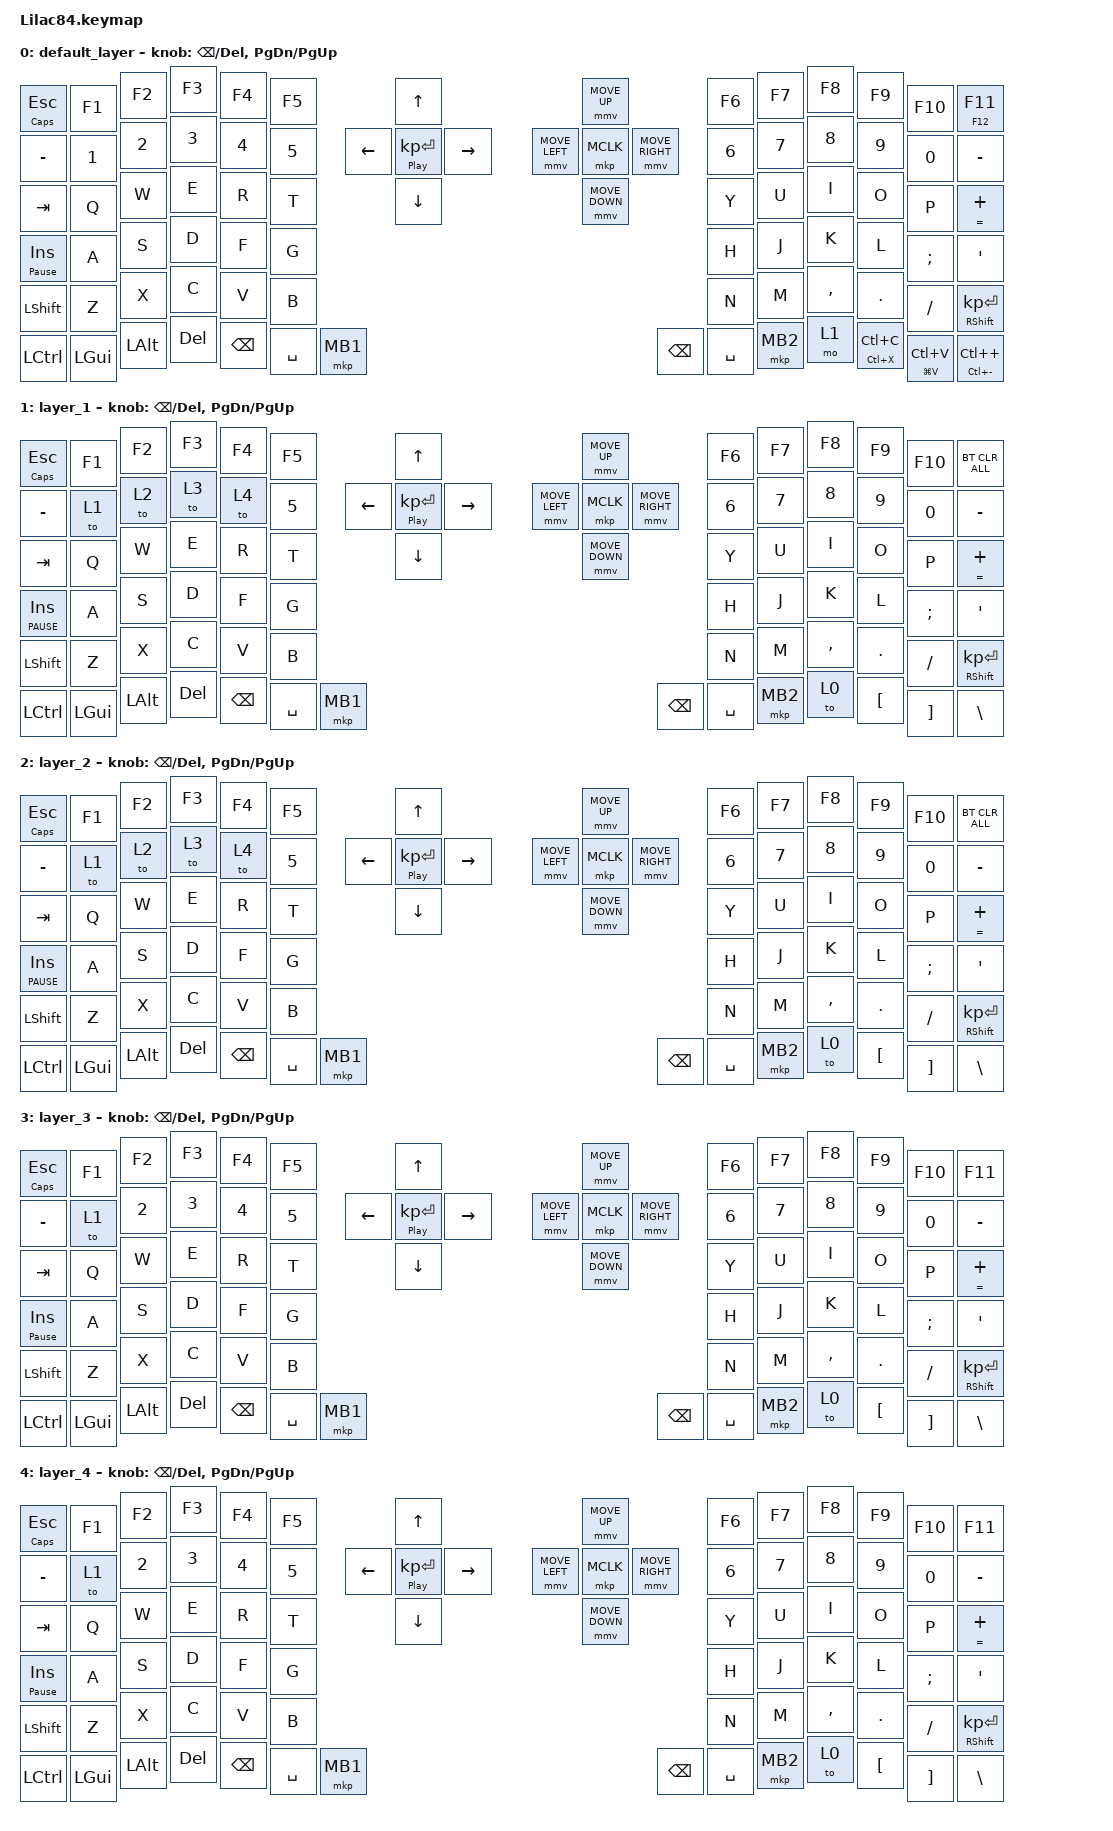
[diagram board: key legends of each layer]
/*
 * Copyright (c) 2020 The ZMK Contributors
 *
 * SPDX-License-Identifier: MIT
 */

#include <input/processors.dtsi>
#include <zephyr/dt-bindings/input/input-event-codes.h>
#include <dt-bindings/zmk/mouse.h>
#include <behaviors/mouse_keys.dtsi>
#include <behaviors.dtsi>
#include <dt-bindings/zmk/bt.h>
#include <dt-bindings/zmk/keys.h>
#include <dt-bindings/zmk/pointing.h>

#define DEFAULT 0
#define LOWER  1
#define RAISE  2
#define ADJUST 3
#define FUNCTION 4

/* NOTE: At the time of the creation of this keymap, there are no specified codes for 'eisuu' and 'kana' input in ZMK.
However, 'LANG1' and 'LANG2' are fully-functioning candidates for 'kana' and 'eisuu' input respectively.
As such, those are in use within the default layer at this time.*/

&mmv_input_listener { input-processors = <&zip_xy_scaler 2 1>; };

&msc_input_listener { input-processors = <&zip_scroll_scaler 2 1>; };

&msc {
    acceleration-exponent = <1>;      // 0
    time-to-max-speed-ms = <100>;       // 300
    delay-ms = <0>;                   // 0
};

&mmv {
    time-to-max-speed-ms = <500>;
    acceleration-exponent = <1>;
    trigger-period-ms = <16>;
};

&soft_off {
    hold-time-ms = <3000>; // Only turn off it the key is held for 3 seconds or longer.
};

&mt {
    tapping-term-ms = <300>;
    flavor = "balanced";
};

/ {
    keymap {
        compatible = "zmk,keymap";

        default_layer {
            bindings = <
&mt CAPSLOCK ESC        &kp F1    &kp F2    &kp F3   &kp F4         &kp F5     &kp UP                     &mmv MOVE_UP     &kp F6     &kp F7    &kp F8     &kp F9           &kp F10          &mt F12 F11
&kp MINUS               &kp N1    &kp N2    &kp N3   &kp N4         &kp N5     &kp RIGHT                  &mmv MOVE_LEFT   &kp N6     &kp N7    &kp N8     &kp N9           &kp N0           &kp MINUS
&kp TAB                 &kp Q     &kp W     &kp E    &kp R          &kp T      &mt C_PLAY_PAUSE KP_ENTER  &mkp MCLK        &kp Y      &kp U     &kp I      &kp O            &kp P            &mt EQUAL PLUS
&mt PAUSE_BREAK INSERT  &kp A     &kp S     &kp D    &kp F          &kp G      &kp LEFT                   &mmv MOVE_RIGHT  &kp H      &kp J     &kp K      &kp L            &kp SEMI         &kp APOS
&kp LSHFT               &kp Z     &kp X     &kp C    &kp V          &kp B      &kp DOWN                   &mmv MOVE_DOWN   &kp N      &kp M     &kp COMMA  &kp DOT          &kp FSLH         &mt RSHFT KP_ENTER
&kp LCTRL               &kp LGUI  &kp LALT  &kp DEL  &kp BACKSPACE  &kp SPACE  &mkp MB1                   &kp BACKSPACE    &kp SPACE  &mkp MB2  &mo 1      &mt LC(X) LC(C)  &mt LG(V) LC(V)  &mt LC(MINUS) LC(PLUS)
            >;

            sensor-bindings =
                <&inc_dec_kp BACKSPACE DELETE>,
                <&inc_dec_kp PG_DN PG_UP>;
        };

        layer_1 {
            bindings = <
&mt CAPSLOCK ESC    &kp F1    &kp F2    &kp F3   &kp F4         &kp F5     &kp UP                     &mmv MOVE_UP     &kp F6     &kp F7    &kp F8     &kp F9    &kp F10   &bt BT_CLR_ALL
&kp MINUS           &to 1     &to 2     &to 3    &to 4          &kp N5     &kp RIGHT                  &mmv MOVE_LEFT   &kp N6     &kp N7    &kp N8     &kp N9    &kp N0    &kp MINUS
&kp TAB             &kp Q     &kp W     &kp E    &kp R          &kp T      &mt C_PLAY_PAUSE KP_ENTER  &mkp MCLK        &kp Y      &kp U     &kp I      &kp O     &kp P     &mt EQUAL PLUS
&mt C_PAUSE INSERT  &kp A     &kp S     &kp D    &kp F          &kp G      &kp LEFT                   &mmv MOVE_RIGHT  &kp H      &kp J     &kp K      &kp L     &kp SEMI  &kp APOS
&kp LSHFT           &kp Z     &kp X     &kp C    &kp V          &kp B      &kp DOWN                   &mmv MOVE_DOWN   &kp N      &kp M     &kp COMMA  &kp DOT   &kp FSLH  &mt RSHFT KP_ENTER
&kp LCTRL           &kp LGUI  &kp LALT  &kp DEL  &kp BACKSPACE  &kp SPACE  &mkp MB1                   &kp BACKSPACE    &kp SPACE  &mkp MB2  &to 0      &kp LBKT  &kp RBKT  &kp BSLH
            >;

            sensor-bindings =
                <&inc_dec_kp BACKSPACE DELETE>,
                <&inc_dec_kp PG_DN PG_UP>;
        };

        layer_2 {
            bindings = <
&mt CAPSLOCK ESC    &kp F1    &kp F2    &kp F3   &kp F4         &kp F5     &kp UP                     &mmv MOVE_UP     &kp F6     &kp F7    &kp F8     &kp F9    &kp F10   &bt BT_CLR_ALL
&kp MINUS           &to 1     &to 2     &to 3    &to 4          &kp N5     &kp RIGHT                  &mmv MOVE_LEFT   &kp N6     &kp N7    &kp N8     &kp N9    &kp N0    &kp MINUS
&kp TAB             &kp Q     &kp W     &kp E    &kp R          &kp T      &mt C_PLAY_PAUSE KP_ENTER  &mkp MCLK        &kp Y      &kp U     &kp I      &kp O     &kp P     &mt EQUAL PLUS
&mt C_PAUSE INSERT  &kp A     &kp S     &kp D    &kp F          &kp G      &kp LEFT                   &mmv MOVE_RIGHT  &kp H      &kp J     &kp K      &kp L     &kp SEMI  &kp APOS
&kp LSHFT           &kp Z     &kp X     &kp C    &kp V          &kp B      &kp DOWN                   &mmv MOVE_DOWN   &kp N      &kp M     &kp COMMA  &kp DOT   &kp FSLH  &mt RSHFT KP_ENTER
&kp LCTRL           &kp LGUI  &kp LALT  &kp DEL  &kp BACKSPACE  &kp SPACE  &mkp MB1                   &kp BACKSPACE    &kp SPACE  &mkp MB2  &to 0      &kp LBKT  &kp RBKT  &kp BSLH
            >;

            sensor-bindings =
                <&inc_dec_kp BACKSPACE DELETE>,
                <&inc_dec_kp PG_DN PG_UP>;
        };

        layer_3 {
            bindings = <
&mt CAPSLOCK ESC        &kp F1    &kp F2    &kp F3   &kp F4         &kp F5     &kp UP                     &mmv MOVE_UP     &kp F6     &kp F7    &kp F8     &kp F9    &kp F10   &kp F11
&kp MINUS               &to 1     &kp N2    &kp N3   &kp N4         &kp N5     &kp RIGHT                  &mmv MOVE_LEFT   &kp N6     &kp N7    &kp N8     &kp N9    &kp N0    &kp MINUS
&kp TAB                 &kp Q     &kp W     &kp E    &kp R          &kp T      &mt C_PLAY_PAUSE KP_ENTER  &mkp MCLK        &kp Y      &kp U     &kp I      &kp O     &kp P     &mt EQUAL PLUS
&mt PAUSE_BREAK INSERT  &kp A     &kp S     &kp D    &kp F          &kp G      &kp LEFT                   &mmv MOVE_RIGHT  &kp H      &kp J     &kp K      &kp L     &kp SEMI  &kp APOS
&kp LSHFT               &kp Z     &kp X     &kp C    &kp V          &kp B      &kp DOWN                   &mmv MOVE_DOWN   &kp N      &kp M     &kp COMMA  &kp DOT   &kp FSLH  &mt RSHFT KP_ENTER
&kp LCTRL               &kp LGUI  &kp LALT  &kp DEL  &kp BACKSPACE  &kp SPACE  &mkp MB1                   &kp BACKSPACE    &kp SPACE  &mkp MB2  &to 0      &kp LBKT  &kp RBKT  &kp BSLH
            >;

            sensor-bindings =
                <&inc_dec_kp BACKSPACE DELETE>,
                <&inc_dec_kp PG_DN PG_UP>;
        };

        layer_4 {
            bindings = <
&mt CAPSLOCK ESC        &kp F1    &kp F2    &kp F3   &kp F4         &kp F5     &kp UP                     &mmv MOVE_UP     &kp F6     &kp F7    &kp F8     &kp F9    &kp F10   &kp F11
&kp MINUS               &to 1     &kp N2    &kp N3   &kp N4         &kp N5     &kp RIGHT                  &mmv MOVE_LEFT   &kp N6     &kp N7    &kp N8     &kp N9    &kp N0    &kp MINUS
&kp TAB                 &kp Q     &kp W     &kp E    &kp R          &kp T      &mt C_PLAY_PAUSE KP_ENTER  &mkp MCLK        &kp Y      &kp U     &kp I      &kp O     &kp P     &mt EQUAL PLUS
&mt PAUSE_BREAK INSERT  &kp A     &kp S     &kp D    &kp F          &kp G      &kp LEFT                   &mmv MOVE_RIGHT  &kp H      &kp J     &kp K      &kp L     &kp SEMI  &kp APOS
&kp LSHFT               &kp Z     &kp X     &kp C    &kp V          &kp B      &kp DOWN                   &mmv MOVE_DOWN   &kp N      &kp M     &kp COMMA  &kp DOT   &kp FSLH  &mt RSHFT KP_ENTER
&kp LCTRL               &kp LGUI  &kp LALT  &kp DEL  &kp BACKSPACE  &kp SPACE  &mkp MB1                   &kp BACKSPACE    &kp SPACE  &mkp MB2  &to 0      &kp LBKT  &kp RBKT  &kp BSLH
            >;

            sensor-bindings =
                <&inc_dec_kp BACKSPACE DELETE>,
                <&inc_dec_kp PG_DN PG_UP>;
        };
    };
};
